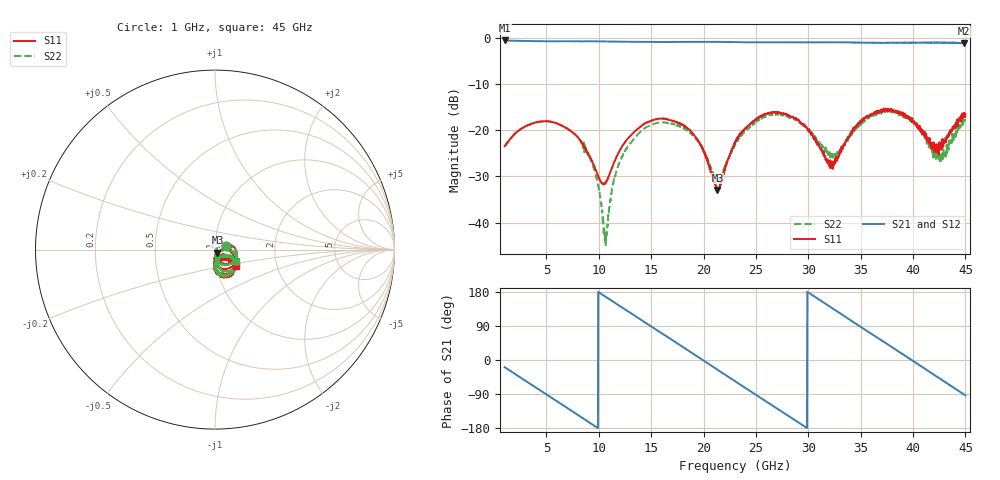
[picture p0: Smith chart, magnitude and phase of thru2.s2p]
!Keysight Technologies,N5247B,MY61255062,A.19.80.06
!Date: Thursday, May 21, 2026 11:36:22
!Correction: S11(Cdelta 2-Port  )
!S21(Cdelta 2-Port  )
!S12(Cdelta 2-Port  )
!S22(Cdelta 2-Port  )
!S2P File: Measurements: S11, S21, S12, S22:
# Hz S  dB  R 50
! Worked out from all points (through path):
!   1601 points, 1 GHz to 45 GHz, reference 50 ohm
!   highest |S21| = -0.48 dB at 1 GHz (marker M1); lowest = -1.1 dB at 44.86 GHz (marker M2)
!   group delay of S21, straight-line fit = 50.1 ps
!   lowest |S11| = -33.0 dB at 21.32 GHz (marker M3), VSWR 1.05, Z = 51.4 - j1.83 ohm
!   |S11| at or under -10 dB: start of sweep to end of sweep
!   |S22| runs from -45.1 to -15.6 dB; largest |S21 - S12| = 0.015
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1e9  -23.41 19.7  -0.48 -18.9  -0.48 -18.9  -23.49 19.7
4.74e9  -18.00 -18.8  -0.65 -86.3  -0.65 -86.3  -18.06 -19.4
6.5e9  -19.02 -43.5  -0.66 -117.9  -0.66 -117.9  -18.99 -46.5
8.3425e9  -22.57 -66.5  -0.67 -151.3  -0.68 -151.3  -22.76 -75.9
9.6625e9  -28.43 -64.5  -0.67 -175.3  -0.68 -175.3  -29.33 -90.8
1.06525e10  -31.28 -17.5  -0.70 166.7  -0.71 166.7  -45.14 -18.2
1.1395e10  -27.27 6.2  -0.73 153.3  -0.74 153.3  -31.43 34.6
1.21925e10  -23.58 5.7  -0.76 139.0  -0.76 139.0  -25.88 27.9
1.5685e10  -17.50 -36.6  -0.81 76.2  -0.82 76.2  -18.32 -21.4
1.871e10  -20.06 -78.5  -0.79 21.9  -0.80 21.9  -20.55 -63.5
2.13225e10  -32.97 -52.3  -0.79 -25.5  -0.79 -25.6  -31.06 -43.3
2.3e10  -22.53 -2.5  -0.84 -55.9  -0.84 -56.0  -23.02 0.2
2.62725e10  -16.21 -44.4  -0.88 -114.7  -0.88 -114.7  -16.65 -34.2
2.83625e10  -17.09 -73.3  -0.90 -152.3  -0.88 -152.4  -17.36 -63.2
3.03425e10  -21.05 -91.9  -0.89 171.9  -0.90 171.9  -20.42 -79.3
3.22125e10  -26.92 -61.4  -0.88 138.2  -0.88 138.0  -25.68 -55.2
3.4165e10  -20.19 -24.4  -0.93 102.5  -0.92 102.5  -20.58 -26.3
3.7685e10  -15.53 -62.4  -1.00 39.3  -1.01 39.2  -15.69 -57.3
4.0985e10  -20.36 -87.5  -0.93 -20.5  -0.97 -20.5  -20.18 -87.7
4.26625e10  -22.81 -45.4  -0.98 -51.1  -0.98 -51.0  -26.18 -48.1
4.48625e10  -16.68 -36.8  -1.13 -91.1  -0.99 -90.9  -17.96 -25.5
4.5e10  -16.44 -38.0  -1.01 -93.5  -1.09 -93.2  -17.60 -28.7
